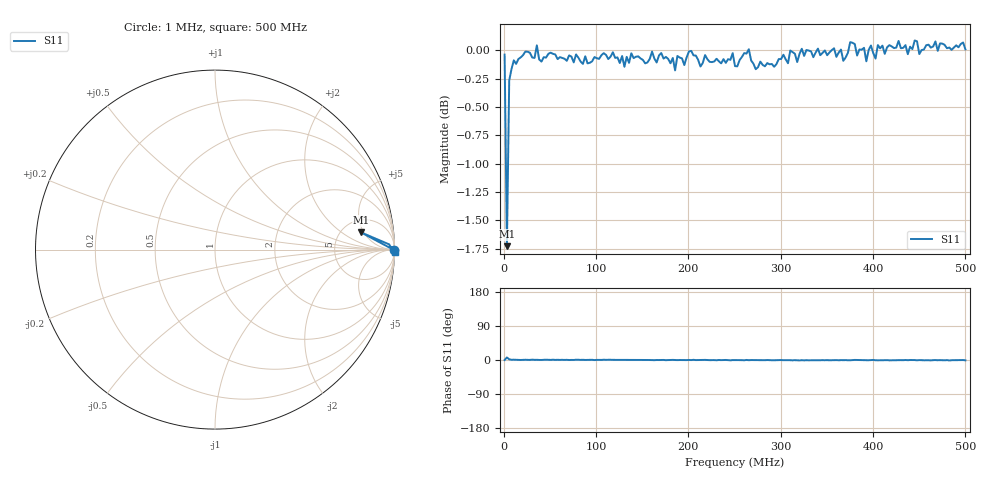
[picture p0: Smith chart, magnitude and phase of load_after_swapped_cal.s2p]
! PocketVna 1.54  pocketvna.com
! Live measurements ((Reflection-S11) Linear 1000000-500000000/201 calibrated)
# MHz S DB R 50
! MHz  dBS11  <S11  dBS21  <S21  dBS12  <S12  dBS22  <S22
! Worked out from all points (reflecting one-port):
!   201 points, 1 MHz to 500 MHz, reference 50 ohm
!   lowest |S11| = -1.7 dB at 3.495 MHz (marker M1), VSWR 10.08, Z = 375 + j218 ohm
!   phase of S11 starts at -0 deg and turns -1 deg over the sweep
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1  -0.04 -0.1  -200.00 0.0  -200.00 0.0  -200.00 0.0
3.495  -1.73 6.7  -200.00 0.0  -200.00 0.0  -200.00 0.0
5.99  -0.26 1.7  -200.00 0.0  -200.00 0.0  -200.00 0.0
10.98  -0.09 0.9  -200.00 0.0  -200.00 0.0  -200.00 0.0
35.93  0.05 0.5  -200.00 0.0  -200.00 0.0  -200.00 0.0
40.92  -0.10 0.1  -200.00 0.0  -200.00 0.0  -200.00 0.0
85.83  -0.12 0.4  -200.00 0.0  -200.00 0.0  -200.00 0.0
168.165  -0.04 -0.1  -200.00 0.0  -200.00 0.0  -200.00 0.0
185.63  -0.18 -0.1  -200.00 0.0  -200.00 0.0  -200.00 0.0
248.005  -0.02 -0.2  -200.00 0.0  -200.00 0.0  -200.00 0.0
250.5  -0.14 -0.2  -200.00 0.0  -200.00 0.0  -200.00 0.0
265.47  0.01 -0.5  -200.00 0.0  -200.00 0.0  -200.00 0.0
272.955  -0.17 -0.5  -200.00 0.0  -200.00 0.0  -200.00 0.0
335.33  -0.06 -0.6  -200.00 0.0  -200.00 0.0  -200.00 0.0
367.765  -0.09 -0.4  -200.00 0.0  -200.00 0.0  -200.00 0.0
375.25  0.07 -0.7  -200.00 0.0  -200.00 0.0  -200.00 0.0
380.24  0.06 0.2  -200.00 0.0  -200.00 0.0  -200.00 0.0
392.715  -0.10 -0.5  -200.00 0.0  -200.00 0.0  -200.00 0.0
400.2  -0.02 0.1  -200.00 0.0  -200.00 0.0  -200.00 0.0
417.665  0.05 -0.9  -200.00 0.0  -200.00 0.0  -200.00 0.0
435.13  0.05 0.0  -200.00 0.0  -200.00 0.0  -200.00 0.0
500  0.01 -0.8  -200.00 0.0  -200.00 0.0  -200.00 0.0
